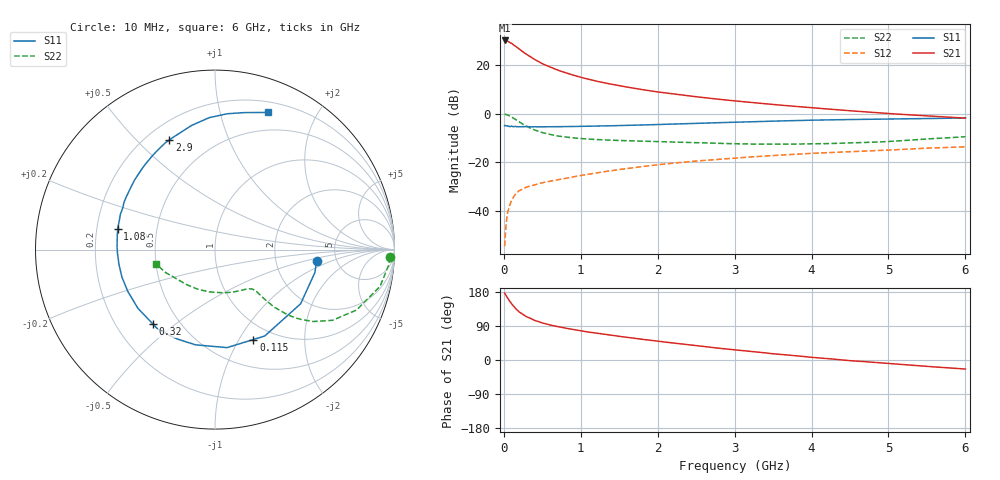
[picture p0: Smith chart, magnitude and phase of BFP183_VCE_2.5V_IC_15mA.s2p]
! Infineon Technologies  Discrete & RF Semiconductors
! BFP183
! VCE = 2.5 V,  IC =  15 mA
! Common Emitter S-Parameters:  Jan 2016
# GHz  S  MA  R  50
!  f  S11  S21  S12  S22
! GHz  MAG  ANG  MAG  ANG  MAG  ANG  MAG  ANG
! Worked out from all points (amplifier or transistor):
!   210 points, 10 MHz to 6 GHz, reference 50 ohm
!   highest |S21| = 30.1 dB at 10 MHz (marker M1)
!   |S21| within 3 dB of that: start of sweep to 178 MHz
!   unconditionally stable (mu >= 1): 929.1 MHz to 5.635 GHz
!   at 185 MHz: K = 0.33, MSG = 29.5 dB, |S12| = -32.0 dB
!   at 1.52 GHz: K = 1.14, MAG = 14.9 dB, |S12| = -22.9 dB
!   at 6 GHz: K = 0.94, MSG = 5.9 dB, |S12| = -13.6 dB
!   S11 on the Smith chart (normalised r, x): 10 MHz: 3.51, -0.67; 115 MHz: 0.81, -1.15; 320 MHz: 0.36, -0.42; 1.08 GHz: 0.29, +0.10; 2.9 GHz: 0.29, +0.63; 6 GHz: 0.30, +1.41
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0.01  0.5701 -6.5  31.95 176.6  0.0019 88.4  0.9767 -2.5
0.02  0.5711 -12.9  31.84 173.4  0.0033 82.5  0.9716 -5.1
0.05  0.5646 -32.3  30.96 163.0  0.0095 77.9  0.9423 -12.5
0.1  0.5555 -60.1  27.82 148.3  0.0164 65.7  0.8578 -23.1
0.115  0.5447 -66.9  26.69 145.0  0.0181 62.8  0.8283 -25.3
0.15  0.5502 -83.0  24.44 136.1  0.0222 57.8  0.7646 -31.0
0.2  0.5416 -101.6  21.32 126.7  0.0262 53.3  0.6768 -36.3
0.26  0.5416 -117.4  18.07 118.3  0.0293 49.3  0.5917 -40.2
0.32  0.5402 -129.6  15.65 112.2  0.0319 47.6  0.5282 -42.3
0.4  0.5398 -142.7  12.99 104.4  0.0345 46.2  0.4627 -44.1
0.5  0.5388 -154.5  10.66 97.8  0.0381 45.0  0.4092 -44.8
0.6  0.5407 -163.4  9.107 92.4  0.041 46.1  0.373 -45.1
0.8  0.5437 -177.2  6.944 84.0  0.0468 47.4  0.3316 -45.2
1.02  0.5509 170.9  5.489 76.4  0.0544 49.0  0.3072 -46.2
1.08  0.5538 168.1  5.201 74.4  0.0565 49.1  0.3023 -46.7
1.5  0.5716 152.5  3.757 62.4  0.0711 49.7  0.2817 -51.1
2.02  0.5996 135.3  2.773 49.3  0.0899 47.5  0.2661 -59.8
2.9  0.6612 112.7  1.903 28.9  0.1196 41.5  0.2435 -80.6
3.1  0.6732 108.5  1.771 24.9  0.1259 40.0  0.2394 -86.1
4.1  0.7396 90.9  1.288 5.5  0.1557 31.8  0.2415 -117.0
5.1  0.7803 78.0  0.985 -10.6  0.1821 24.5  0.274 -145.3
6  0.8186 69.0  0.811 -23.9  0.2088 16.2  0.3366 -165.9
